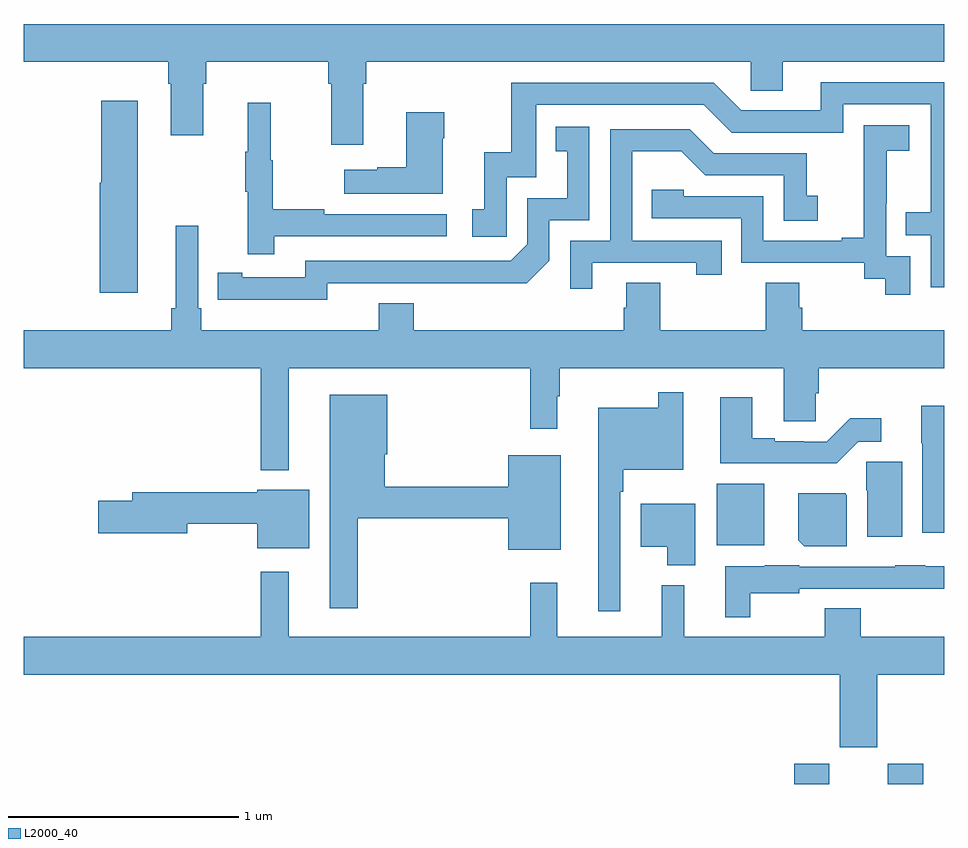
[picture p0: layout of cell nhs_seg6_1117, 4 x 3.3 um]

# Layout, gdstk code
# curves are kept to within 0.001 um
import gdstk
lib = gdstk.Library(unit=1e-6, precision=1e-09)
def R(c, l, rs):  # rectangles x0, y0, x1, y1
    for r in rs: c.add(gdstk.rectangle(r[:2], r[2:], *l))
def P(c, l, *ps):  # polygons
    for p in ps: c.add(gdstk.Polygon(p, *l))
L2000_40 = (2000, 40)

nhs_seg6_1117 = lib.new_cell('nhs_seg6_1117')
R(nhs_seg6_1117, L2000_40, [(182.348,973.5,182.5,973.587), (182.756,973.5,182.909,973.587), (182.012,974.537,182.218,974.806)])
P(nhs_seg6_1117, L2000_40, [(180.475,976.544),(180.488,976.544),(180.488,976.64),(182.16,976.64),(182.16,976.513),(182.299,976.513),(182.299,976.64),(183,976.64),(183,976.804),(179,976.804),(179,976.64),(179.627,976.64),(179.627,976.544),(179.639,976.544),(179.639,976.32),(179.779,976.32),(179.779,976.544),(179.792,976.544),(179.792,976.64),(180.323,976.64),(180.323,976.544),(180.335,976.544),(180.335,976.278),(180.475,976.278)],
  [(183,976.551),(182.465,976.551),(182.465,976.428),(182.118,976.428),(181.998,976.548),(181.119,976.548),(181.119,976.246),(181.001,976.246),(181.001,975.999),(180.948,975.999),(180.948,975.879),(181.098,975.879),(181.098,976.137),(181.227,976.137),(181.227,976.452),(181.956,976.452),(182.076,976.332),(182.562,976.332),(182.562,976.455),(182.943,976.455),(182.943,975.986),(182.833,975.986),(182.833,975.885),(182.943,975.885),(182.943,975.66),(183,975.66)],
  [(179.494,976.471),(179.336,976.471),(179.336,976.113),(179.33,976.113),(179.33,975.636),(179.494,975.636)],
  [(180.089,975.882),(180.838,975.882),(180.838,975.978),(180.305,975.978),(180.305,975.998),(180.082,975.998),(180.082,976.212),(180.074,976.212),(180.074,976.462),(179.972,976.462),(179.972,976.249),(179.961,976.249),(179.961,976.075),(179.972,976.075),(179.972,975.804),(180.089,975.804)],
  [(180.82,976.307),(180.828,976.307),(180.828,976.42),(180.662,976.42),(180.662,976.181),(180.536,976.181),(180.536,976.171),(180.393,976.171),(180.393,976.067),(180.82,976.067)],
  [(182.853,975.795),(182.748,975.795),(182.748,976.025),(182.75,976.025),(182.75,976.253),(182.848,976.253),(182.848,976.363),(182.65,976.363),(182.65,976.157),(182.651,976.157),(182.651,975.874),(182.555,975.874),(182.555,975.861),(182.214,975.861),(182.214,976.056),(181.869,976.056),(181.869,976.083),(181.729,976.083),(181.729,975.96),(182.118,975.96),(182.118,975.765),(182.652,975.765),(182.652,975.697),(182.745,975.697),(182.745,975.627),(182.853,975.627)],
  [(180.318,975.678),(181.186,975.677),(181.284,975.774),(181.284,975.951),(181.458,975.951),(181.458,976.357),(181.312,976.357),(181.312,976.251),(181.361,976.251),(181.361,976.047),(181.188,976.047),(181.188,975.846),(181.116,975.774),(180.222,975.774),(180.222,975.702),(179.95,975.702),(179.95,975.722),(179.842,975.722),(179.842,975.606),(180.318,975.605)],
  [(181.471,975.765),(181.922,975.765),(181.922,975.714),(182.033,975.714),(182.033,975.861),(181.644,975.861),(181.644,976.25),(181.858,976.25),(181.962,976.146),(182.304,976.146),(182.304,975.948),(182.452,975.948),(182.452,976.057),(182.403,976.057),(182.403,976.242),(181.999,976.242),(181.894,976.347),(181.548,976.347),(181.548,975.861),(181.374,975.861),(181.374,975.654),(181.471,975.654)],
  [(180.151,975.308),(181.201,975.308),(181.201,975.045),(181.318,975.045),(181.318,975.185),(181.33,975.185),(181.33,975.308),(182.303,975.308),(182.303,975.076),(182.442,975.076),(182.442,975.198),(182.456,975.198),(182.456,975.308),(183,975.308),(183,975.472),(182.384,975.472),(182.384,975.57),(182.371,975.57),(182.371,975.68),(182.224,975.68),(182.224,975.472),(181.767,975.472),(181.767,975.68),(181.619,975.68),(181.619,975.57),(181.607,975.57),(181.607,975.472),(180.695,975.472),(180.695,975.589),(180.542,975.589),(180.542,975.472),(179.771,975.472),(179.771,975.568),(179.757,975.568),(179.757,975.928),(179.66,975.928),(179.66,975.568),(179.641,975.568),(179.641,975.472),(179,975.472),(179,975.308),(180.03,975.308),(180.03,974.864),(180.151,974.864)],
  [(181.593,974.771),(181.606,974.771),(181.606,974.867),(181.866,974.867),(181.866,975.202),(181.758,975.202),(181.758,975.136),(181.496,975.136),(181.496,974.25),(181.593,974.25)],
  [(180.451,974.656),(181.106,974.656),(181.106,974.519),(181.333,974.519),(181.333,974.929),(181.106,974.929),(181.106,974.792),(180.568,974.792),(180.568,974.934),(180.58,974.934),(180.58,975.193),(180.329,975.193),(180.329,974.265),(180.451,974.265)],
  [(182.628,974.988),(182.728,974.988),(182.728,975.091),(182.593,975.091),(182.49,974.988),(182.39,974.988),(182.39,974.991),(182.263,974.991),(182.263,975.004),(182.167,975.004),(182.167,975.181),(182.027,975.181),(182.027,974.894),(182.533,974.894)],
  [(183,975.145),(182.9,975.145),(182.9,974.982),(182.906,974.982),(182.906,974.592),(183,974.592)],
  [(182.818,974.901),(182.662,974.901),(182.662,974.778),(182.666,974.778),(182.666,974.574),(182.818,974.574)],
  [(180.241,974.779),(180.014,974.779),(180.014,974.768),(179.471,974.768),(179.471,974.732),(179.322,974.732),(179.322,974.59),(179.71,974.59),(179.71,974.632),(180.014,974.632),(180.014,974.525),(180.241,974.525)],
  [(182.578,974.756),(182.57,974.764),(182.366,974.764),(182.366,974.56),(182.392,974.534),(182.578,974.534)],
  [(181.918,974.719),(181.682,974.719),(181.682,974.531),(181.796,974.531),(181.796,974.45),(181.918,974.45)],
  [(182.158,974.33),(182.37,974.33),(182.37,974.349),(182.787,974.349),(182.787,974.348),(183,974.348),(183,974.446),(182.919,974.446),(182.919,974.452),(182.787,974.452),(182.787,974.445),(182.37,974.445),(182.37,974.452),(182.22,974.452),(182.22,974.446),(182.048,974.446),(182.048,974.225),(182.158,974.225)],
  [(182.71,973.976),(183,973.976),(183,974.14),(182.637,974.14),(182.637,974.264),(182.482,974.264),(182.482,974.14),(181.871,974.14),(181.871,974.365),(181.772,974.365),(181.772,974.14),(181.319,974.14),(181.319,974.374),(181.201,974.374),(181.201,974.14),(180.151,974.14),(180.151,974.422),(180.03,974.422),(180.03,974.14),(179,974.14),(179,973.976),(182.546,973.976),(182.546,973.659),(182.71,973.659)])

lib.write_gds('nhs_seg6_1117.gds')
